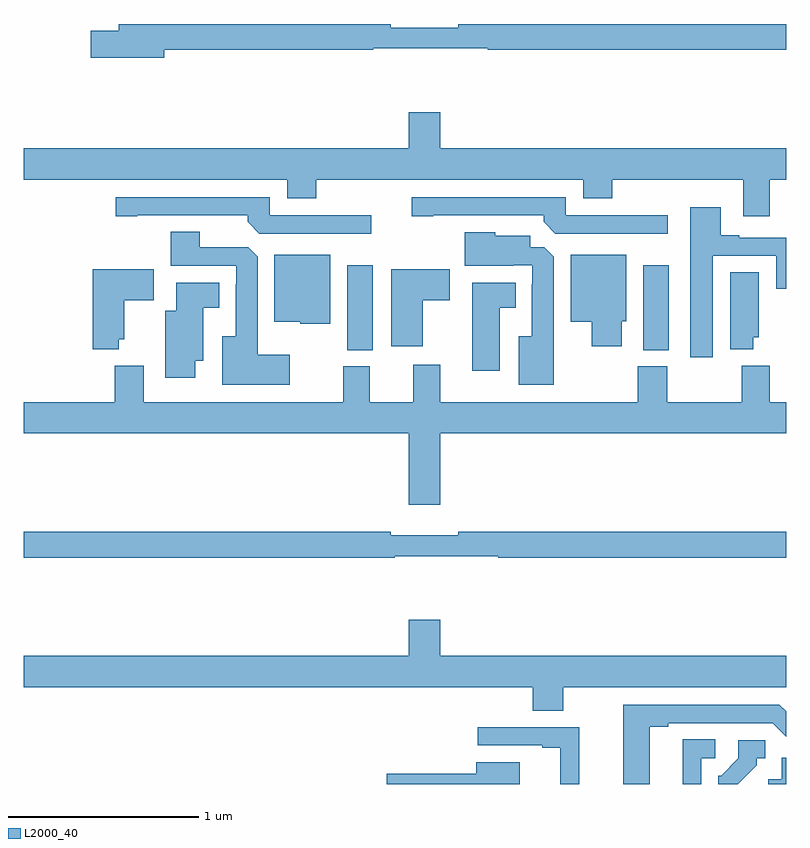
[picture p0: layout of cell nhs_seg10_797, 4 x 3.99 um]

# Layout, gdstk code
import gdstk
lib = gdstk.Library(unit=1e-6, precision=1e-09)
def R(c, l, rs):  # rectangles x0, y0, x1, y1
    for r in rs: c.add(gdstk.rectangle(r[:2], r[2:], *l))
def P(c, l, *ps):  # polygons
    for p in ps: c.add(gdstk.Polygon(p, *l))
L2000_40 = (2000, 40)

nhs_seg10_797 = lib.new_cell('nhs_seg10_797')
R(nhs_seg10_797, L2000_40, [(152.696,1276.777,152.83,1277.221), (154.25,1276.777,154.384,1277.221)])
P(nhs_seg10_797, L2000_40, [(151.738,1278.352),(152.834,1278.352),(152.834,1278.36),(153.434,1278.36),(153.434,1278.352),(155,1278.352),(155,1278.488),(153.28,1278.488),(153.28,1278.469),(152.924,1278.469),(152.924,1278.488),(151.499,1278.488),(151.499,1278.452),(151.35,1278.452),(151.35,1278.31),(151.738,1278.31)],
  [(154.915,1277.672),(155,1277.672),(155,1277.836),(153.184,1277.836),(153.184,1278.025),(153.02,1278.025),(153.02,1277.836),(151,1277.836),(151,1277.672),(152.381,1277.672),(152.381,1277.573),(152.534,1277.573),(152.534,1277.672),(153.935,1277.672),(153.935,1277.573),(154.088,1277.573),(154.088,1277.672),(154.775,1277.672),(154.775,1277.478),(154.915,1277.478)],
  [(152.824,1277.484),(152.289,1277.484),(152.289,1277.58),(151.482,1277.58),(151.482,1277.479),(151.594,1277.479),(151.594,1277.484),(152.174,1277.484),(152.174,1277.45),(152.235,1277.388),(152.824,1277.388)],
  [(154.378,1277.484),(153.843,1277.484),(153.843,1277.58),(153.036,1277.58),(153.036,1277.479),(153.148,1277.479),(153.148,1277.484),(153.728,1277.484),(153.728,1277.45),(153.789,1277.388),(154.378,1277.388)],
  [(154.615,1277.271),(154.949,1277.271),(154.949,1277.1),(155,1277.1),(155,1277.367),(154.753,1277.367),(154.753,1277.38),(154.657,1277.38),(154.657,1277.527),(154.496,1277.527),(154.496,1276.74),(154.615,1276.74)],
  [(152.395,1276.753),(152.227,1276.753),(152.227,1277.267),(152.178,1277.316),(151.924,1277.316),(151.924,1277.399),(151.772,1277.399),(151.772,1277.22),(152.115,1277.22),(152.115,1277.123),(152.111,1277.123),(152.111,1276.849),(152.042,1276.849),(152.042,1276.595),(152.395,1276.595)],
  [(153.781,1277.267),(153.732,1277.316),(153.658,1277.316),(153.658,1277.377),(153.474,1277.377),(153.474,1277.395),(153.314,1277.395),(153.314,1277.219),(153.569,1277.219),(153.569,1277.223),(153.669,1277.223),(153.669,1277.123),(153.665,1277.123),(153.665,1276.849),(153.596,1276.849),(153.596,1276.595),(153.781,1276.595)],
  [(154.138,1276.929),(154.162,1276.929),(154.162,1277.278),(153.869,1277.278),(153.869,1276.925),(153.98,1276.925),(153.98,1276.797),(154.138,1276.797)],
  [(152.608,1277.278),(152.315,1277.278),(152.315,1276.925),(152.451,1276.925),(152.451,1276.916),(152.608,1276.916)],
  [(153.094,1277.038),(153.235,1277.038),(153.235,1277.2),(152.927,1277.2),(152.927,1276.797),(153.094,1276.797)],
  [(151.498,1276.835),(151.528,1276.835),(151.528,1277.038),(151.681,1277.038),(151.681,1277.2),(151.361,1277.2),(151.361,1276.781),(151.498,1276.781)],
  [(154.828,1276.845),(154.855,1276.845),(154.855,1277.186),(154.706,1277.186),(154.706,1276.781),(154.828,1276.781)],
  [(153.496,1277),(153.58,1277),(153.58,1277.131),(153.353,1277.131),(153.353,1276.668),(153.496,1276.668)],
  [(151.9,1276.721),(151.942,1276.721),(151.942,1277),(152.026,1277),(152.026,1277.131),(151.799,1277.131),(151.799,1276.984),(151.742,1276.984),(151.742,1276.632),(151.9,1276.632)],
  [(153.184,1276.34),(155,1276.34),(155,1276.504),(154.915,1276.504),(154.915,1276.696),(154.768,1276.696),(154.768,1276.504),(154.377,1276.504),(154.377,1276.692),(154.222,1276.692),(154.222,1276.504),(153.184,1276.504),(153.184,1276.699),(153.044,1276.699),(153.044,1276.504),(152.815,1276.504),(152.815,1276.692),(152.675,1276.692),(152.675,1276.504),(151.63,1276.504),(151.63,1276.696),(151.478,1276.696),(151.478,1276.504),(151,1276.504),(151,1276.34),(153.02,1276.34),(153.02,1275.966),(153.184,1275.966)],
  [(152.945,1275.696),(153.49,1275.696),(153.49,1275.688),(155,1275.688),(155,1275.824),(153.28,1275.824),(153.28,1275.805),(152.924,1275.805),(152.924,1275.824),(151,1275.824),(151,1275.688),(152.945,1275.688)],
  [(153.831,1275.008),(155,1275.008),(155,1275.172),(153.184,1275.172),(153.184,1275.361),(153.02,1275.361),(153.02,1275.172),(151,1275.172),(151,1275.008),(153.671,1275.008),(153.671,1274.884),(153.831,1274.884)],
  [(154.285,1274.8),(154.381,1274.8),(154.381,1274.82),(154.929,1274.82),(155,1274.749),(155,1274.881),(154.965,1274.916),(154.145,1274.916),(154.145,1274.5),(154.285,1274.5)],
  [(153.915,1274.799),(153.381,1274.799),(153.381,1274.703),(153.719,1274.703),(153.719,1274.691),(153.815,1274.691),(153.815,1274.5),(153.915,1274.5)],
  [(154.554,1274.634),(154.627,1274.634),(154.627,1274.735),(154.457,1274.735),(154.457,1274.5),(154.554,1274.5)],
  [(154.846,1274.599),(154.846,1274.634),(154.891,1274.634),(154.891,1274.73),(154.749,1274.73),(154.749,1274.634),(154.659,1274.544),(154.644,1274.544),(154.644,1274.5),(154.747,1274.5)],
  [(155,1274.639),(154.976,1274.639),(154.976,1274.524),(154.907,1274.524),(154.907,1274.5),(155,1274.5)],
  [(153.601,1274.614),(153.374,1274.614),(153.374,1274.553),(152.904,1274.553),(152.904,1274.5),(153.601,1274.5)])

lib.write_gds('nhs_seg10_797.gds')
